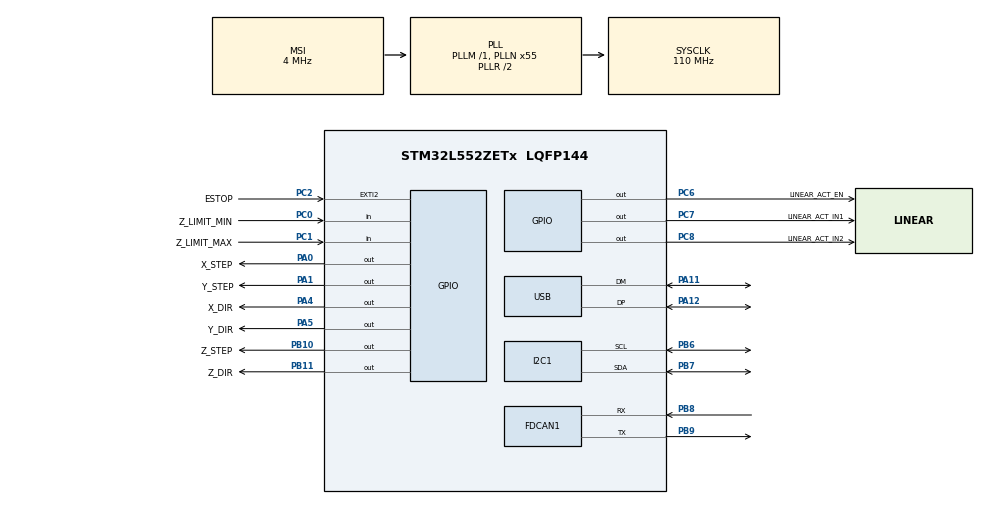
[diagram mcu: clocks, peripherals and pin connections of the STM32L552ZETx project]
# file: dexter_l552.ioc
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FDCAN1.CalculateBaudRateNominal=500000
FDCAN1.CalculateTimeBitNominal=2000
FDCAN1.CalculateTimeQuantumNominal=181.8181818181818
FDCAN1.FrameFormat=FDCAN_FRAME_CLASSIC
FDCAN1.Mode=FDCAN_MODE_NORMAL
FDCAN1.NominalPrescaler=20
FDCAN1.NominalSyncJumpWidth=1
FDCAN1.NominalTimeSeg1=8
FDCAN1.NominalTimeSeg2=2
FDCAN1.StdFiltersNbr=1
FDCAN1.TxFifoQueueElmtsNbr=3
I2C1.Timing=0x60514452
Mcu.Family=STM32L5
Mcu.Name=STM32L552ZETx
Mcu.Package=LQFP144
NVIC.EXTI2_IRQn=true\:0\:0\:false\:false\:true\:true\:true\:true
NVIC.FDCAN1_IT0_IRQn=true\:2\:0\:false\:false\:true\:true\:true\:true
NVIC.PriorityGroup=NVIC_PRIORITYGROUP_3
NVIC.TIM2_IRQn=true\:1\:0\:false\:false\:true\:true\:true\:true
NVIC.LPUART1_IRQn=true\:5\:0\:false\:false\:true\:true\:true\:true
NVIC.USB_FS_IRQn=true\:6\:0\:false\:false\:true\:false\:true\:true
PA0.GPIO_Label=X_STEP
PA0.Signal=GPIO_Output
PA1.GPIO_Label=Y_STEP
PA1.Signal=GPIO_Output
PA11.Mode=Device
PA11.Signal=USB_DM
PA12.Mode=Device
PA12.Signal=USB_DP
PA4.GPIO_Label=X_DIR
PA4.Signal=GPIO_Output
PA5.GPIO_Label=Y_DIR
PA5.Signal=GPIO_Output
PB10.GPIO_Label=Z_STEP
PB10.Signal=GPIO_Output
PB11.GPIO_Label=Z_DIR
PB11.Signal=GPIO_Output
PB6.Mode=I2C
PB6.Signal=I2C1_SCL
PB7.Mode=I2C
PB7.Signal=I2C1_SDA
PB8.Mode=FDCAN_Activate
PB8.Signal=FDCAN1_RX
PB9.Mode=FDCAN_Activate
PB9.Signal=FDCAN1_TX
PC0.GPIO_Label=Z_LIMIT_MIN
PC0.GPIO_PuPd=GPIO_PULLUP
PC0.Signal=GPIO_Input
PC1.GPIO_Label=Z_LIMIT_MAX
PC1.GPIO_PuPd=GPIO_PULLUP
PC1.Signal=GPIO_Input
PC2.GPIO_Label=ESTOP
PC2.GPIO_ModeDefaultEXTI=GPIO_MODE_IT_FALLING
PC2.GPIO_PuPd=GPIO_PULLUP
PC2.Signal=GPXTI2
PC6.GPIO_Label=LINEAR_ACT_EN
PC6.Signal=GPIO_Output
PC7.GPIO_Label=LINEAR_ACT_IN1
PC7.Signal=GPIO_Output
PC8.GPIO_Label=LINEAR_ACT_IN2
PC8.Signal=GPIO_Output
PG7.Signal=LPUART1_TX
PG8.Signal=LPUART1_RX
ProjectManager.HeapSize=0x200
ProjectManager.StackSize=0x400
ProjectManager.TargetToolchain=STM32CubeIDE
TIM2.AutoReloadPreload=TIM_AUTORELOAD_PRELOAD_DISABLE
TIM2.ClockDivision=TIM_CLOCKDIVISION_DIV1
TIM2.CounterMode=TIM_COUNTERMODE_UP
TIM2.Period=19
TIM2.Prescaler=109
TIM2.TIM_MasterOutputTrigger=TIM_TRGO_RESET
TIM2.TIM_MasterSlaveMode=TIM_MASTERSLAVEMODE_DISABLE
TIM2.TIM_SlaveMode=TIM_SLAVEMODE_DISABLE
LPUART1.BaudRate=115200
RCC.CK48CLockSelection=RCC_USBCLKSOURCE_HSI48
RCC.FDCANCLockSelection=RCC_FDCANCLKSOURCE_PLL
RCC.HSE_VALUE=16000000
RCC.HSI48_VALUE=48000000
RCC.HSI_VALUE=16000000
RCC.I2C1CLockSelection=RCC_I2C1CLKSOURCE_PCLK1
RCC.LSE_VALUE=32768
RCC.MSI_VALUE=4000000
RCC.PLLN=55
RCC.SYSCLKFreq_VALUE=110000000
RCC.SYSCLKSource=RCC_SYSCLKSOURCE_PLLCLK
RCC.VCOOutputFreq_Value=220000000
USB_DEVICE.CLASS_NAME_FS=CDC
USB_DEVICE.VirtualMode=Cdc
USB_DEVICE.VirtualModeFS=Cdc_FS
VP_USB_DEVICE_VS_USB_DEVICE_CDC_FS.Mode=CDC_FS
VP_TIM2_VS_ClockSourceITR.Mode=TriggerSource_ITR0
board=custom

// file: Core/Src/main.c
/* USER CODE BEGIN Header */
/**
  ******************************************************************************
  * @file    USB_Device/CDC_Standalone/Core/Src/main.c
  * @author  MCD Application Team
  * @brief   USB device CDC demo main file
  ******************************************************************************
  * @attention
  *
  * Copyright (c) 2019 STMicroelectronics.
  * All rights reserved.
  *
  * This software is licensed under terms that can be found in the LICENSE file
  * in the root directory of this software component.
  * If no LICENSE file comes with this software, it is provided AS-IS.
  *
  ******************************************************************************
  */
/* USER CODE END Header */
#include "main.h"
#include "usb_device.h"
#include "as5600.h"
#include "can_interface.h"
#include "command_io.h"
#include "cycle_engine.h"
#include "gcode.h"
#include "linear_actuator.h"
#include "stepper.h"

TIM_HandleTypeDef htim2;
FDCAN_HandleTypeDef hfdcan1;
I2C_HandleTypeDef hi2c1;

UART_HandleTypeDef hlpuart1;

void SystemClock_Config(void);
static void MX_GPIO_Init(void);
static void MX_ICACHE_Init(void);
void MX_FDCAN1_Init(void);
void MX_I2C1_Init(void);
/* USER CODE BEGIN PFP */
void HAL_TIM_MspPostInit(TIM_HandleTypeDef *htim);
/* USER CODE END PFP */

int main(void)
{

  /* MCU Configuration--------------------------------------------------------*/

  /* Reset of all peripherals, Initializes the Flash interface and the Systick. */
  HAL_Init();

  /* Configure the system clock */
  SystemClock_Config();

  /* Initialize all configured peripherals */
  MX_GPIO_Init();
  MX_ICACHE_Init();
  MX_TIM2_Init();
  MX_FDCAN1_Init();
  MX_I2C1_Init();
  MX_LPUART1_UART_Init();
  MX_USB_Device_Init();
  /* USER CODE BEGIN 2 */
  if (!CAN_Interface_Init(&hfdcan1)) Error_Handler();
  Stepper_Init(&htim2);
  AS5600_Init(&hi2c1);
  LinearActuator_Init();
  GCode_Init();
  CycleEngine_Init();
  CommandIO_Init(&hlpuart1);
  GCode_PrintBootHelp();
  /* USER CODE END 2 */

  /* Infinite loop */
  while (1)
  {

    CommandIO_Poll();
    GCode_Poll();
  }
}

void MX_FDCAN1_Init(void)
{
  hfdcan1.Instance = FDCAN1;
  hfdcan1.Init.ClockDivider = FDCAN_CLOCK_DIV1;
  hfdcan1.Init.FrameFormat = FDCAN_FRAME_CLASSIC;
  hfdcan1.Init.Mode = FDCAN_MODE_NORMAL;
  hfdcan1.Init.AutoRetransmission = ENABLE;
  hfdcan1.Init.TransmitPause = DISABLE;
  hfdcan1.Init.ProtocolException = DISABLE;
  /* PLLQ = 110 MHz; 110 MHz / 20 / (1 + 8 + 2) = 500 kbit/s. */
  hfdcan1.Init.NominalPrescaler = 20;
  hfdcan1.Init.NominalSyncJumpWidth = 1;
  hfdcan1.Init.NominalTimeSeg1 = 8;
  hfdcan1.Init.NominalTimeSeg2 = 2;
  hfdcan1.Init.DataPrescaler = 1;
  hfdcan1.Init.DataSyncJumpWidth = 1;
  hfdcan1.Init.DataTimeSeg1 = 1;
  hfdcan1.Init.DataTimeSeg2 = 1;
  hfdcan1.Init.StdFiltersNbr = 1;
  hfdcan1.Init.ExtFiltersNbr = 0;
  hfdcan1.Init.TxFifoQueueMode = FDCAN_TX_FIFO_OPERATION;
  if (HAL_FDCAN_Init(&hfdcan1) != HAL_OK) Error_Handler();
}

void MX_I2C1_Init(void)
{
  hi2c1.Instance = I2C1;
  /* 100 kHz standard-mode timing with the 110 MHz PCLK1 clock. */
  hi2c1.Init.Timing = 0x60514452;
  hi2c1.Init.OwnAddress1 = 0;
  hi2c1.Init.AddressingMode = I2C_ADDRESSINGMODE_7BIT;
  hi2c1.Init.DualAddressMode = I2C_DUALADDRESS_DISABLE;
  hi2c1.Init.OwnAddress2 = 0;
  hi2c1.Init.OwnAddress2Masks = I2C_OA2_NOMASK;
  hi2c1.Init.GeneralCallMode = I2C_GENERALCALL_DISABLE;
  hi2c1.Init.NoStretchMode = I2C_NOSTRETCH_DISABLE;
  if (HAL_I2C_Init(&hi2c1) != HAL_OK) Error_Handler();
  if (HAL_I2CEx_ConfigAnalogFilter(&hi2c1, I2C_ANALOGFILTER_ENABLE) != HAL_OK) Error_Handler();
  if (HAL_I2CEx_ConfigDigitalFilter(&hi2c1, 0) != HAL_OK) Error_Handler();
}

void SystemClock_Config(void)
{
  RCC_OscInitTypeDef RCC_OscInitStruct = {0};
  RCC_ClkInitTypeDef RCC_ClkInitStruct = {0};
  RCC_CRSInitTypeDef RCC_CRSInitStruct = {0};

  /** Configure the main internal regulator output voltage
  */
  if (HAL_PWREx_ControlVoltageScaling(PWR_REGULATOR_VOLTAGE_SCALE0) != HAL_OK)
  {
    Error_Handler();
  }

  /** Initializes the RCC Oscillators according to the specified parameters
  * in the RCC_OscInitTypeDef structure.
  */
  RCC_OscInitStruct.OscillatorType = RCC_OSCILLATORTYPE_HSI48|RCC_OSCILLATORTYPE_MSI;
  RCC_OscInitStruct.HSI48State = RCC_HSI48_ON;
  RCC_OscInitStruct.MSIState = RCC_MSI_ON;
  RCC_OscInitStruct.MSICalibrationValue = RCC_MSICALIBRATION_DEFAULT;
  RCC_OscInitStruct.MSIClockRange = RCC_MSIRANGE_6;
  RCC_OscInitStruct.PLL.PLLState = RCC_PLL_ON;
  RCC_OscInitStruct.PLL.PLLSource = RCC_PLLSOURCE_MSI;
  RCC_OscInitStruct.PLL.PLLM = 1;
  RCC_OscInitStruct.PLL.PLLN = 55;
  RCC_OscInitStruct.PLL.PLLP = RCC_PLLP_DIV7;
  RCC_OscInitStruct.PLL.PLLQ = RCC_PLLQ_DIV2;
  RCC_OscInitStruct.PLL.PLLR = RCC_PLLR_DIV2;
  if (HAL_RCC_OscConfig(&RCC_OscInitStruct) != HAL_OK)
  {
    Error_Handler();
  }

  /** Initializes the CPU, AHB and APB buses clocks
  */
  RCC_ClkInitStruct.ClockType = RCC_CLOCKTYPE_HCLK|RCC_CLOCKTYPE_SYSCLK
                              |RCC_CLOCKTYPE_PCLK1|RCC_CLOCKTYPE_PCLK2;
  RCC_ClkInitStruct.SYSCLKSource = RCC_SYSCLKSOURCE_PLLCLK;
  RCC_ClkInitStruct.AHBCLKDivider = RCC_SYSCLK_DIV1;
  RCC_ClkInitStruct.APB1CLKDivider = RCC_HCLK_DIV1;
  RCC_ClkInitStruct.APB2CLKDivider = RCC_HCLK_DIV1;

  if (HAL_RCC_ClockConfig(&RCC_ClkInitStruct, FLASH_LATENCY_5) != HAL_OK)
  {
    Error_Handler();
  }

  /** Enable the SYSCFG APB clock
  */
  __HAL_RCC_CRS_CLK_ENABLE();

  /** Configures CRS
  */
  RCC_CRSInitStruct.Prescaler = RCC_CRS_SYNC_DIV1;
  RCC_CRSInitStruct.Source = RCC_CRS_SYNC_SOURCE_USB;
  RCC_CRSInitStruct.Polarity = RCC_CRS_SYNC_POLARITY_RISING;
  RCC_CRSInitStruct.ReloadValue = __HAL_RCC_CRS_RELOADVALUE_CALCULATE(48000000,1000);
  RCC_CRSInitStruct.ErrorLimitValue = 34;
  RCC_CRSInitStruct.HSI48CalibrationValue = 32;

  HAL_RCCEx_CRSConfig(&RCC_CRSInitStruct);
}

static void MX_ICACHE_Init(void)
{

  /** Enable instruction cache in 1-way (direct mapped cache)
  */
  if (HAL_ICACHE_ConfigAssociativityMode(ICACHE_1WAY) != HAL_OK)
  {
    Error_Handler();
  }
  if (HAL_ICACHE_Enable() != HAL_OK)
  {
    Error_Handler();
  }

}

void MX_TIM2_Init(void)
{

  TIM_SlaveConfigTypeDef sSlaveConfig = {0};
  TIM_MasterConfigTypeDef sMasterConfig = {0};

  htim2.Instance = TIM2;
  htim2.Init.Prescaler = 109;
  htim2.Init.CounterMode = TIM_COUNTERMODE_UP;
  htim2.Init.Period = 19;
  htim2.Init.ClockDivision = TIM_CLOCKDIVISION_DIV1;
  htim2.Init.AutoReloadPreload = TIM_AUTORELOAD_PRELOAD_DISABLE;
  if (HAL_TIM_Base_Init(&htim2) != HAL_OK)
  {
    Error_Handler();
  }
  sSlaveConfig.SlaveMode = TIM_SLAVEMODE_DISABLE;
  sSlaveConfig.InputTrigger = TIM_TS_ITR0;
  if (HAL_TIM_SlaveConfigSynchro(&htim2, &sSlaveConfig) != HAL_OK)
  {
    Error_Handler();
  }
  sMasterConfig.MasterOutputTrigger = TIM_TRGO_UPDATE;
  sMasterConfig.MasterSlaveMode = TIM_MASTERSLAVEMODE_DISABLE;
  if (HAL_TIMEx_MasterConfigSynchronization(&htim2, &sMasterConfig) != HAL_OK)
  {
    Error_Handler();
  }

}

void MX_LPUART1_UART_Init(void)
{

  hlpuart1.Instance = LPUART1;
  hlpuart1.Init.BaudRate = 115200;
  hlpuart1.Init.WordLength = UART_WORDLENGTH_8B;
  hlpuart1.Init.StopBits = UART_STOPBITS_1;
  hlpuart1.Init.Parity = UART_PARITY_NONE;
  hlpuart1.Init.Mode = UART_MODE_TX_RX;
  hlpuart1.Init.HwFlowCtl = UART_HWCONTROL_NONE;
  hlpuart1.Init.OverSampling = UART_OVERSAMPLING_16;
  hlpuart1.Init.OneBitSampling = UART_ONE_BIT_SAMPLE_DISABLE;
  hlpuart1.Init.ClockPrescaler = UART_PRESCALER_DIV1;
  hlpuart1.AdvancedInit.AdvFeatureInit = UART_ADVFEATURE_NO_INIT;
  if (HAL_UART_Init(&hlpuart1) != HAL_OK)
  {
    Error_Handler();
  }
  if (HAL_UARTEx_SetTxFifoThreshold(&hlpuart1, UART_TXFIFO_THRESHOLD_1_8) != HAL_OK)
  {
    Error_Handler();
  }
  if (HAL_UARTEx_SetRxFifoThreshold(&hlpuart1, UART_RXFIFO_THRESHOLD_1_8) != HAL_OK)
  {
    Error_Handler();
  }
  if (HAL_UARTEx_DisableFifoMode(&hlpuart1) != HAL_OK)
  {
    Error_Handler();
  }

}

static void MX_GPIO_Init(void)
{

  /* GPIO Ports Clock Enable */
  __HAL_RCC_GPIOB_CLK_ENABLE();
  __HAL_RCC_GPIOA_CLK_ENABLE();

  GPIO_InitTypeDef GPIO_InitStruct = {0};
  __HAL_RCC_GPIOA_CLK_ENABLE();
  __HAL_RCC_GPIOB_CLK_ENABLE();
  __HAL_RCC_GPIOC_CLK_ENABLE();
  HAL_GPIO_WritePin(GPIOA, X_STEP_Pin|Y_STEP_Pin|X_DIR_Pin|Y_DIR_Pin, GPIO_PIN_RESET);
  HAL_GPIO_WritePin(GPIOB, Z_STEP_Pin|Z_DIR_Pin, GPIO_PIN_RESET);
  HAL_GPIO_WritePin(GPIOC, LINEAR_ACT_EN_Pin|LINEAR_ACT_IN1_Pin|LINEAR_ACT_IN2_Pin, GPIO_PIN_RESET);
  GPIO_InitStruct.Pin = X_STEP_Pin|Y_STEP_Pin|X_DIR_Pin|Y_DIR_Pin;
  GPIO_InitStruct.Mode = GPIO_MODE_OUTPUT_PP;
  GPIO_InitStruct.Pull = GPIO_NOPULL;
  GPIO_InitStruct.Speed = GPIO_SPEED_FREQ_HIGH;
  HAL_GPIO_Init(GPIOA, &GPIO_InitStruct);
  GPIO_InitStruct.Pin = Z_STEP_Pin|Z_DIR_Pin;
  HAL_GPIO_Init(GPIOB, &GPIO_InitStruct);
  GPIO_InitStruct.Pin = LINEAR_ACT_EN_Pin|LINEAR_ACT_IN1_Pin|LINEAR_ACT_IN2_Pin;
  GPIO_InitStruct.Speed = GPIO_SPEED_FREQ_LOW;
  HAL_GPIO_Init(GPIOC, &GPIO_InitStruct);
  GPIO_InitStruct.Pin = Z_LIMIT_MIN_Pin|Z_LIMIT_MAX_Pin;
  GPIO_InitStruct.Mode = GPIO_MODE_INPUT;
  GPIO_InitStruct.Pull = GPIO_PULLUP;
  HAL_GPIO_Init(GPIOC, &GPIO_InitStruct);
  GPIO_InitStruct.Pin = ESTOP_Pin;
  GPIO_InitStruct.Mode = ESTOP_BUTTON_ACTIVE_LOW ? GPIO_MODE_IT_FALLING : GPIO_MODE_IT_RISING;
  GPIO_InitStruct.Pull = ESTOP_BUTTON_ACTIVE_LOW ? GPIO_PULLUP : GPIO_PULLDOWN;
  HAL_GPIO_Init(ESTOP_GPIO_Port, &GPIO_InitStruct);

#if ESTOP_BUTTON_ENABLE
  HAL_NVIC_SetPriority(EXTI2_IRQn, 0, 0);
  HAL_NVIC_EnableIRQ(EXTI2_IRQn);
#endif
}

/* USER CODE BEGIN 4 */
void HAL_GPIO_EXTI_Rising_Callback(uint16_t GPIO_Pin)
{
  if (GPIO_Pin == ESTOP_Pin) GCode_EStopFromISR();
}

void HAL_GPIO_EXTI_Falling_Callback(uint16_t GPIO_Pin)
{
  if (GPIO_Pin == ESTOP_Pin) GCode_EStopFromISR();
}

/**
  * @brief This function provides accurate delay (in milliseconds) based
  * on SysTick counter flag.
  * @note This function is declared as __weak to be overwritten in case of other
  * implementations in user file.
  * @param Delay: specifies the delay time length, in milliseconds.
  * @retval None
  */
void HAL_Delay(__IO uint32_t Delay)
{
  while (Delay)
  {
    if (SysTick->CTRL & SysTick_CTRL_COUNTFLAG_Msk)
    {
      Delay--;
    }
  }
}
/* USER CODE END 4 */

void Error_Handler(void)
{
  __disable_irq();
  while (1)
  {
  }
}

#ifdef  USE_FULL_ASSERT
/**
  * @brief  Reports the name of the source file and the source line number
  *         where the assert_param error has occurred.
  * @param  file: pointer to the source file name
  * @param  line: assert_param error line source number
  * @retval None
  */
void assert_failed(uint8_t *file, uint32_t line)
{
  /* USER CODE BEGIN 6 */
  /* User can add his own implementation to report the file name and line number,
     ex: printf("Wrong parameters value: file %s on line %d\r\n", file, line) */
  /* Infinite loop */
  while (1)
  {}
  /* USER CODE END 6 */
}
#endif /* USE_FULL_ASSERT */
